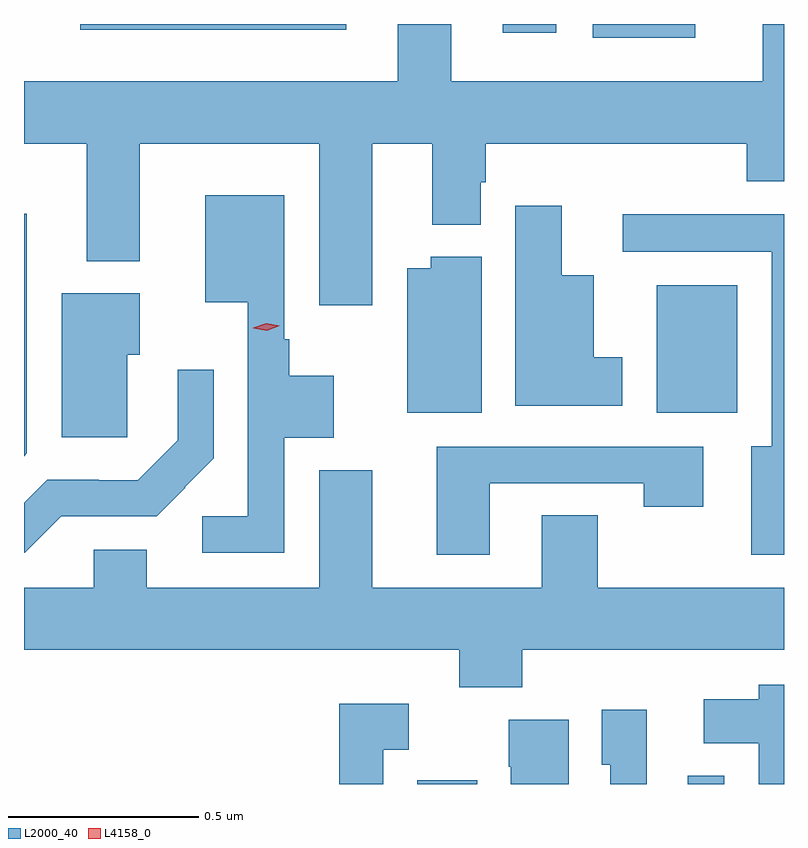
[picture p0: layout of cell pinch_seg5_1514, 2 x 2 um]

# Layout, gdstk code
import gdstk
lib = gdstk.Library(unit=1e-6, precision=1e-09)
def R(c, l, rs):  # rectangles x0, y0, x1, y1
    for r in rs: c.add(gdstk.rectangle(r[:2], r[2:], *l))
def P(c, l, *ps):  # polygons
    for p in ps: c.add(gdstk.Polygon(p, *l))
L2000_40 = (2000, 40)
L4158_0 = (4158, 0)

pinch_seg5_1514 = lib.new_cell('pinch_seg5_1514')
R(pinch_seg5_1514, L2000_40, [(127.808,885.711,127.966,885.721), (128.52,885.711,128.616,885.733), (128.438,886.688,128.65,887.023), (128.27,887.675,128.539,887.711), (128.033,887.688,128.173,887.711), (126.921,887.696,127.621,887.711)])
P(pinch_seg5_1514, L2000_40, [(127.69,887.396),(127.847,887.396),(127.847,887.183),(127.975,887.183),(127.975,887.295),(127.988,887.295),(127.988,887.396),(128.675,887.396),(128.675,887.297),(128.773,887.297),(128.773,887.711),(128.717,887.711),(128.717,887.56),(127.897,887.56),(127.897,887.711),(127.757,887.711),(127.757,887.56),(126.773,887.56),(126.773,887.396),(126.938,887.396),(126.938,887.087),(127.078,887.087),(127.078,887.396),(127.55,887.396),(127.55,886.971),(127.69,886.971)],
  [(127.458,886.622),(127.588,886.622),(127.588,886.786),(127.471,886.786),(127.471,886.882),(127.458,886.882),(127.458,887.26),(127.25,887.26),(127.25,886.979),(127.362,886.979),(127.362,886.416),(127.242,886.416),(127.242,886.32),(127.458,886.32)],
  [(128.347,886.834),(128.272,886.834),(128.272,887.05),(128.188,887.05),(128.188,887.233),(128.066,887.233),(128.066,886.706),(128.347,886.706)],
  [(126.78,886.581),(126.78,887.212),(126.773,887.212),(126.773,886.574)],
  [(128.773,887.21),(128.349,887.21),(128.349,887.112),(128.741,887.112),(128.741,886.6),(128.687,886.6),(128.687,886.314),(128.773,886.314)],
  [(127.978,887.098),(127.844,887.098),(127.844,887.068),(127.781,887.068),(127.781,886.688),(127.978,886.688)],
  [(127.045,886.841),(127.078,886.841),(127.078,887.002),(126.872,887.002),(126.872,886.623),(127.045,886.623)],
  [(126.871,886.416),(127.122,886.416),(127.197,886.491),(127.196,886.492),(127.272,886.568),(127.272,886.801),(127.178,886.801),(127.178,886.616),(127.072,886.51),(126.97,886.51),(126.97,886.512),(126.834,886.512),(126.773,886.451),(126.773,886.32),(126.775,886.32)],
  [(127.999,886.503),(128.404,886.503),(128.404,886.44),(128.56,886.44),(128.56,886.599),(127.859,886.599),(127.859,886.314),(127.999,886.314)],
  [(128.084,886.064),(128.773,886.064),(128.773,886.228),(128.283,886.228),(128.283,886.418),(128.135,886.418),(128.135,886.228),(127.69,886.228),(127.69,886.537),(127.55,886.537),(127.55,886.228),(127.096,886.228),(127.096,886.327),(126.956,886.327),(126.956,886.228),(126.773,886.228),(126.773,886.064),(127.919,886.064),(127.919,885.965),(128.084,885.965)],
  [(128.773,885.972),(128.706,885.972),(128.706,885.934),(128.562,885.934),(128.562,885.818),(128.706,885.818),(128.706,885.711),(128.773,885.711)],
  [(127.719,885.801),(127.786,885.801),(127.786,885.922),(127.603,885.922),(127.603,885.711),(127.719,885.711)],
  [(128.412,885.907),(128.294,885.907),(128.294,885.762),(128.316,885.762),(128.316,885.711),(128.412,885.711)],
  [(128.206,885.88),(128.048,885.88),(128.048,885.756),(128.054,885.756),(128.054,885.711),(128.206,885.711)])
P(pinch_seg5_1514, L4158_0, [(127.412,886.904),(127.376,886.911),(127.376,886.911),(127.376,886.912),(127.41,886.924),(127.446,886.917),(127.446,886.917),(127.446,886.917)])

lib.write_gds('pinch_seg5_1514.gds')
